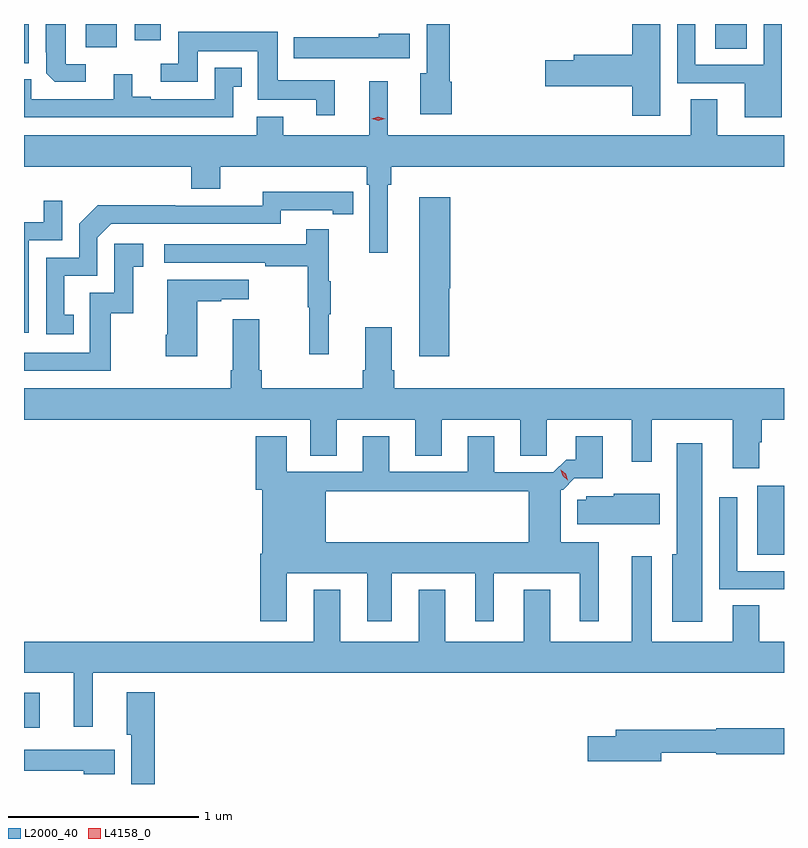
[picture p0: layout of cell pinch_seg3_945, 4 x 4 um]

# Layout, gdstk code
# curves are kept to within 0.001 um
import gdstk
lib = gdstk.Library(unit=1e-6, precision=1e-09)
def R(c, l, rs):  # rectangles x0, y0, x1, y1
    for r in rs: c.add(gdstk.rectangle(r[:2], r[2:], *l))
def P(c, l, *ps):  # polygons
    for p in ps: c.add(gdstk.Polygon(p, *l))
L2000_40 = (2000, 40)
L4158_0 = (4158, 0)

pinch_seg3_945 = lib.new_cell('pinch_seg3_945')
R(pinch_seg3_945, L2000_40, [(407.458,727.265,407.54,727.45), (411.317,728.176,411.458,728.539), (407.458,730.763,407.482,730.97), (411.095,730.84,411.262,730.97), (407.783,730.848,407.947,730.97), (408.041,730.884,408.178,730.97)])
P(pinch_seg3_945, L2000_40, [(411.447,730.97),(411.351,730.97),(411.351,730.755),(410.991,730.755),(410.991,730.97),(410.895,730.97),(410.895,730.659),(411.251,730.659),(411.251,730.478),(411.447,730.478)],
  [(409.71,730.665),(409.7,730.665),(409.7,730.97),(409.577,730.97),(409.577,730.71),(409.544,730.71),(409.544,730.496),(409.71,730.496)],
  [(410.806,730.97),(410.66,730.97),(410.66,730.808),(410.351,730.808),(410.351,730.778),(410.202,730.778),(410.202,730.643),(410.66,730.643),(410.66,730.488),(410.806,730.488)],
  [(407.782,730.758),(407.677,730.758),(407.677,730.97),(407.573,730.97),(407.573,730.822),(407.574,730.822),(407.574,730.711),(407.62,730.665),(407.782,730.665)],
  [(409.094,730.675),(408.793,730.675),(408.793,730.93),(408.269,730.93),(408.269,730.761),(408.177,730.761),(408.177,730.665),(408.373,730.665),(408.373,730.826),(408.689,730.826),(408.689,730.571),(408.995,730.571),(408.995,730.491),(409.094,730.491)],
  [(409.489,730.918),(409.326,730.918),(409.326,730.9),(408.878,730.9),(408.878,730.79),(409.489,730.79)],
  [(408.558,730.641),(408.604,730.641),(408.604,730.741),(408.462,730.741),(408.462,730.575),(408.124,730.575),(408.124,730.588),(408.028,730.588),(408.028,730.705),(407.93,730.705),(407.93,730.575),(407.496,730.575),(407.496,730.678),(407.458,730.678),(407.458,730.479),(408.558,730.479)],
  [(409.372,730.124),(409.391,730.124),(409.391,730.22),(411.458,730.22),(411.458,730.384),(411.106,730.384),(411.106,730.574),(410.966,730.574),(410.966,730.384),(409.372,730.384),(409.372,730.669),(409.274,730.669),(409.274,730.384),(408.823,730.384),(408.823,730.483),(408.683,730.483),(408.683,730.384),(407.458,730.384),(407.458,730.22),(408.338,730.22),(408.338,730.103),(408.49,730.103),(408.49,730.22),(409.262,730.22),(409.262,730.124),(409.275,730.124),(409.275,729.765),(409.372,729.765)],
  [(407.72,729.441),(407.671,729.441),(407.671,729.645),(407.844,729.645),(407.844,729.846),(407.916,729.918),(408.81,729.918),(408.81,729.99),(409.082,729.99),(409.082,729.97),(409.19,729.97),(409.19,730.086),(408.714,730.087),(408.714,730.014),(408.254,730.014),(408.254,730.016),(407.846,730.016),(407.748,729.918),(407.748,729.741),(407.574,729.741),(407.574,729.336),(407.72,729.336)],
  [(409.697,729.579),(409.702,729.579),(409.702,730.057),(409.538,730.057),(409.538,729.222),(409.697,729.222)],
  [(407.484,729.831),(407.658,729.831),(407.658,730.039),(407.561,730.039),(407.561,729.927),(407.458,729.927),(407.458,729.345),(407.484,729.345)],
  [(409.061,729.443),(409.072,729.443),(409.072,729.617),(409.061,729.617),(409.061,729.889),(408.943,729.889),(408.943,729.81),(408.195,729.81),(408.195,729.714),(408.727,729.714),(408.727,729.694),(408.951,729.694),(408.951,729.48),(408.958,729.48),(408.958,729.231),(409.061,729.231)],
  [(407.914,729.447),(408.032,729.447),(408.032,729.693),(408.085,729.693),(408.085,729.814),(407.934,729.814),(407.934,729.555),(407.805,729.555),(407.805,729.24),(407.458,729.24),(407.458,729.144),(407.914,729.144)],
  [(408.37,729.511),(408.497,729.511),(408.497,729.521),(408.64,729.521),(408.64,729.625),(408.212,729.625),(408.212,729.334),(408.205,729.334),(408.205,729.222),(408.37,729.222)],
  [(411.328,728.768),(411.341,728.768),(411.341,728.888),(411.458,728.888),(411.458,729.052),(409.406,729.052),(409.406,729.148),(409.393,729.148),(409.393,729.373),(409.253,729.373),(409.253,729.148),(409.241,729.148),(409.241,729.052),(408.71,729.052),(408.71,729.148),(408.697,729.148),(408.697,729.415),(408.557,729.415),(408.557,729.148),(408.545,729.148),(408.545,729.052),(407.458,729.052),(407.458,728.888),(408.965,728.888),(408.965,728.698),(409.105,728.698),(409.105,728.888),(409.517,728.888),(409.517,728.698),(409.657,728.698),(409.657,728.888),(410.069,728.888),(410.069,728.698),(410.208,728.698),(410.208,728.888),(410.657,728.888),(410.657,728.667),(410.761,728.667),(410.761,728.888),(411.188,728.888),(411.188,728.631),(411.328,728.631)],
  [(408.701,728.182),(408.701,727.827),(408.841,727.827),(408.841,728.078),(409.265,728.078),(409.265,727.827),(409.393,727.827),(409.393,728.078),(409.832,728.078),(409.832,727.827),(409.93,727.827),(409.93,728.078),(410.384,728.078),(410.384,727.827),(410.482,727.827),(410.482,728.242),(410.284,728.242),(410.284,728.52),(410.295,728.52),(410.355,728.58),(410.503,728.58),(410.503,728.8),(410.363,728.8),(410.363,728.677),(410.311,728.677),(410.244,728.61),(409.933,728.61),(409.933,728.8),(409.793,728.8),(409.793,728.613),(409.381,728.613),(409.381,728.8),(409.241,728.8),(409.241,728.613),(408.841,728.613),(408.841,728.8),(408.677,728.8),(408.677,728.52),(408.713,728.52),(408.713,728.242),(409.045,728.242),(409.045,728.512),(410.114,728.512),(410.114,728.242),(408.713,728.242),(408.713,728.182)],
  [(411.028,728.764),(410.894,728.764),(410.894,728.178),(410.87,728.178),(410.87,727.824),(411.028,727.824)],
  [(410.803,728.497),(410.562,728.497),(410.562,728.485),(410.418,728.485),(410.418,728.466),(410.369,728.466),(410.369,728.336),(410.803,728.336)],
  [(411.458,728.091),(411.213,728.091),(411.213,728.479),(411.117,728.479),(411.117,727.995),(411.458,727.995)],
  [(407.819,727.556),(411.458,727.556),(411.458,727.72),(411.328,727.72),(411.328,727.91),(411.188,727.91),(411.188,727.72),(410.761,727.72),(410.761,728.17),(410.657,728.17),(410.657,727.72),(410.227,727.72),(410.227,727.993),(410.087,727.993),(410.087,727.72),(409.675,727.72),(409.675,727.993),(409.535,727.993),(409.535,727.72),(409.123,727.72),(409.123,727.993),(408.983,727.993),(408.983,727.72),(407.458,727.72),(407.458,727.556),(407.72,727.556),(407.72,727.272),(407.819,727.272)],
  [(408.146,727.453),(407.999,727.453),(407.999,727.23),(408.023,727.23),(408.023,726.97),(408.146,726.97)],
  [(410.812,727.134),(411.102,727.134),(411.102,727.126),(411.458,727.126),(411.458,727.263),(411.102,727.263),(411.102,727.255),(410.573,727.255),(410.573,727.221),(410.424,727.221),(410.424,727.091),(410.812,727.091)],
  [(407.935,727.15),(407.458,727.15),(407.458,727.04),(407.772,727.04),(407.772,727.022),(407.935,727.022)])
P(pinch_seg3_945, L4158_0, [(410.32,728.57),(410.32,728.57),(410.293,728.592),(410.282,728.625),(410.282,728.625),(410.282,728.625),(410.309,728.603),(410.32,728.57)],
  [(409.323,730.461),(409.287,730.471),(409.287,730.471),(409.287,730.472),(409.323,730.481),(409.359,730.472),(409.359,730.471),(409.359,730.471)])

lib.write_gds('pinch_seg3_945.gds')
